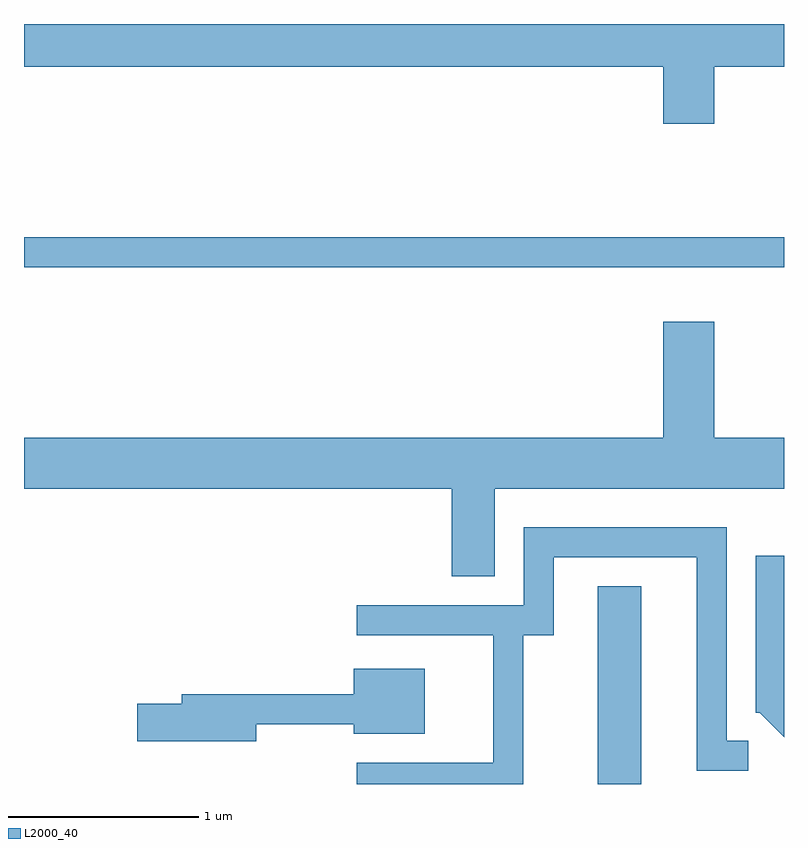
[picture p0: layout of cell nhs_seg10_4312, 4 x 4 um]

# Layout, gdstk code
import gdstk
lib = gdstk.Library(unit=1e-6, precision=1e-09)
def R(c, l, rs):  # rectangles x0, y0, x1, y1
    for r in rs: c.add(gdstk.rectangle(r[:2], r[2:], *l))
def P(c, l, *ps):  # polygons
    for p in ps: c.add(gdstk.Polygon(p, *l))
L2000_40 = (2000, 40)

nhs_seg10_4312 = lib.new_cell('nhs_seg10_4312')
R(nhs_seg10_4312, L2000_40, [(314.631,2174.522,314.859,2175.564), (311.611,2177.241,315.611,2177.399)])
P(nhs_seg10_4312, L2000_40, [(315.244,2178.296),(315.611,2178.296),(315.611,2178.522),(311.611,2178.522),(311.611,2178.296),(314.976,2178.296),(314.976,2177.996),(315.244,2177.996)],
  [(314.089,2176.076),(315.611,2176.076),(315.611,2176.344),(315.244,2176.344),(315.244,2176.954),(314.976,2176.954),(314.976,2176.344),(311.611,2176.344),(311.611,2176.076),(313.861,2176.076),(313.861,2175.616),(314.089,2175.616)],
  [(314.239,2175.306),(314.399,2175.306),(314.399,2175.716),(315.151,2175.716),(315.151,2174.591),(315.423,2174.591),(315.423,2174.749),(315.309,2174.749),(315.309,2175.874),(314.241,2175.874),(314.241,2175.464),(313.363,2175.464),(313.363,2175.306),(314.081,2175.306),(314.081,2174.634),(313.363,2174.634),(313.363,2174.522),(314.239,2174.522)],
  [(315.611,2175.724),(315.461,2175.724),(315.461,2174.896),(315.484,2174.896),(315.611,2174.769)],
  [(312.834,2174.836),(313.346,2174.836),(313.346,2174.786),(313.719,2174.786),(313.719,2175.129),(313.346,2175.129),(313.346,2174.994),(312.441,2174.994),(312.441,2174.944),(312.206,2174.944),(312.206,2174.746),(312.834,2174.746)])

lib.write_gds('nhs_seg10_4312.gds')
